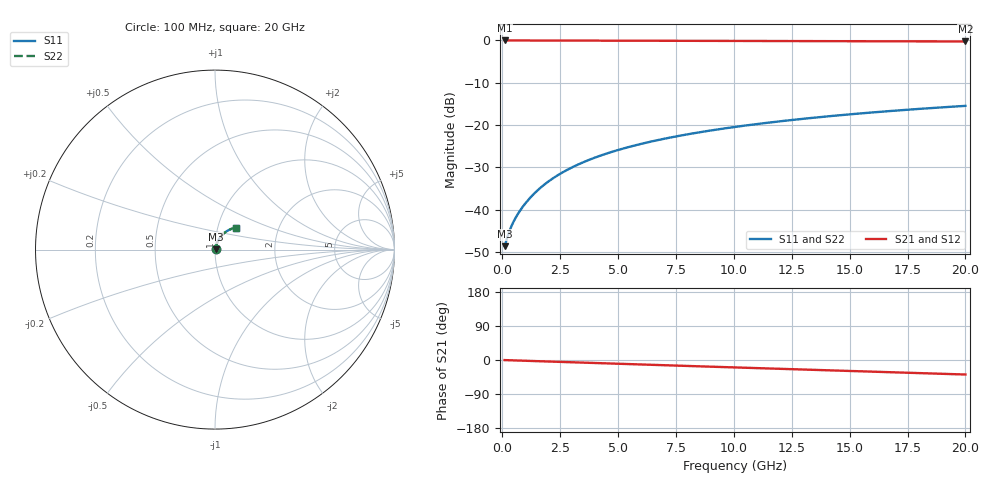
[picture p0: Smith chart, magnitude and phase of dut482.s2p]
! Touchstone file exported from HFSS 2026.1.0
!  File:  C:/ffzhzh/LocalFiles/Ansys_Project_Files/temp_train_BSMRDL_482_1783013865_51716.aedt
!  Generated:  01:38:59 AM Jul  3, 2026
!  Design:  BSMRDL
!  Project:  temp_train_BSMRDL_482_1783013865_51716
! Variables:
!  h_bsmrdl = 4um
!  h_ox = 20um
!  h_rdl = 5um
!  h_sub = 80um
!  h_tmrdl = 5um
!  h_tsv = 80um
!  h_via = 3um
!  l_bsmrdl = 661.89um
!  l_sub = 1061.89um
!  l_tmrdl = 200um
!  m_sub = 200um
!  pitch = 26.48um
!  r_tsv = 6um
!  s_tmrdl = 10um
!  w_bsmrdl = 18.07um
!  w_sub = 500um
!  w_tmrdl = 12um
!  x_tsv_center1 = 206um
!  x_tsv_center2 = 885.96um
!  x_tsv_center3 = 1097.96um
!  x_tsv_center4 = 1777.92um
!  x_tsv_center5 = 1989.92um
!  x_tsv_center6 = 2669.88um
# GHz S MA R 50.000000
! Terminal data exported
! Port[1] = BSM_RDL1_1_T1
! Port[2] = BSM_RDL1_1_T2
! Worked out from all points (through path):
!   200 points, 100 MHz to 20 GHz, reference 50 ohm
!   highest |S21| = -0.03 dB at 100 MHz (marker M1); lowest = -0.3 dB at 20 GHz (marker M2)
!   group delay of S21, straight-line fit = 5.3 ps
!   lowest |S11| = -48.6 dB at 100 MHz (marker M3), VSWR 1.01, Z = 50.3 + j0.142 ohm
!   |S11| at or under -10 dB: start of sweep to end of sweep
!   |S22| runs from -48.6 to -15.5 dB; largest |S21 - S12| = 2.6e-15
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0.1  0.003714 22.3  0.9966 -0.2  0.9966 -0.2  0.003714 22.3
! Gamma 0 0 0 0
! Port Impedance 50 0 50 0
0.3  0.005524 43.9  0.9961 -0.6  0.9961 -0.6  0.005523 43.9
0.4  0.006456 49.0  0.9958 -0.8  0.9958 -0.8  0.006453 49.0
0.5  0.007362 52.8  0.9957 -1.0  0.9957 -1.0  0.007358 52.8
0.7  0.009158 58.5  0.9954 -1.4  0.9954 -1.4  0.009153 58.5
0.9  0.01099 62.5  0.9952 -1.8  0.9952 -1.8  0.01098 62.5
1.1  0.01286 65.5  0.9951 -2.2  0.9951 -2.2  0.01286 65.5
1.3  0.01478 67.6  0.995 -2.6  0.995 -2.6  0.01477 67.6
1.8  0.01966 70.8  0.9946 -3.6  0.9946 -3.6  0.01965 70.8
2.3  0.0246 72.3  0.9942 -4.6  0.9942 -4.6  0.0246 72.3
2.9  0.03053 72.8  0.9936 -5.8  0.9936 -5.8  0.03053 72.9
3.5  0.03641 72.7  0.9929 -7.0  0.9929 -7.0  0.0364 72.8
4.2  0.04316 72.2  0.992 -8.4  0.992 -8.4  0.04316 72.2
5  0.05073 71.2  0.9909 -9.9  0.9909 -9.9  0.05073 71.3
5.9  0.05905 69.9  0.9897 -11.7  0.9897 -11.7  0.05905 70.0
6.8  0.06716 68.5  0.9883 -13.4  0.9883 -13.4  0.06716 68.6
8.3  0.08027 66.1  0.9861 -16.3  0.9861 -16.3  0.08026 66.1
10.1  0.09539 63.1  0.9835 -19.7  0.9835 -19.7  0.09537 63.2
11.7  0.1083 60.4  0.9812 -22.8  0.9812 -22.8  0.1083 60.5
13.4  0.1216 57.5  0.9787 -26.0  0.9787 -26.0  0.1216 57.6
16.7  0.146 51.9  0.9739 -32.2  0.9739 -32.2  0.146 52.0
20  0.1683 46.2  0.9692 -38.3  0.9692 -38.3  0.1683 46.4
